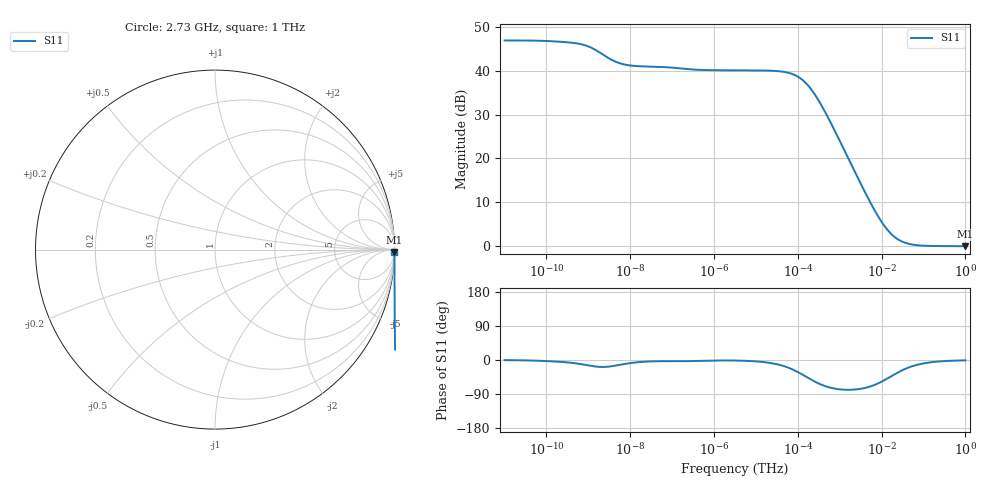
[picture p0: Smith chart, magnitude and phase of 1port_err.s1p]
# Hz S RI R 50
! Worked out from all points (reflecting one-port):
!   400 points, 10 Hz to 1 THz, reference 50 ohm
!   lowest |S11| = 0.0 dB at 1 THz (marker M1)
!   phase of S11 starts at -0 deg and turns -1 deg over the sweep
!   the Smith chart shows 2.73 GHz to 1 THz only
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10  221.1 -1.255
52.09451  220 -6.23
239.0265  212 -19.32
423.2202  205.7 -28.16
660.0075  197 -37.71
965.9673  184.4 -46.03
1506.416  164 -51.07
2069.138  148.3 -49.24
3028.329  132.8 -41.92
5713.368  118.3 -26.52
10779.07  113.2 -15.33
20336.24  111.5 -9.175
136564.7  106.8 -6.216
486090.1  102 -3.597
3264258  101 -2.586
9013370  100.7 -5.84
1.930698e7  99.55 -12.05
4.406667e7  93.88 -25.76
7.802442e7  81.62 -39.55
1.216783e8  64.11 -48.26
1.671312e8  48.56 -49.95
2.606394e8  28.16 -44.49
3.814641e8  15.83 -35.54
7.196857e8  5.662 -21.09
1.864991e9  1.723 -8.473
6.229974e9  1.065 -2.553
4.457823e10  1.001 -0.3571
1e12  1 -0.0159
